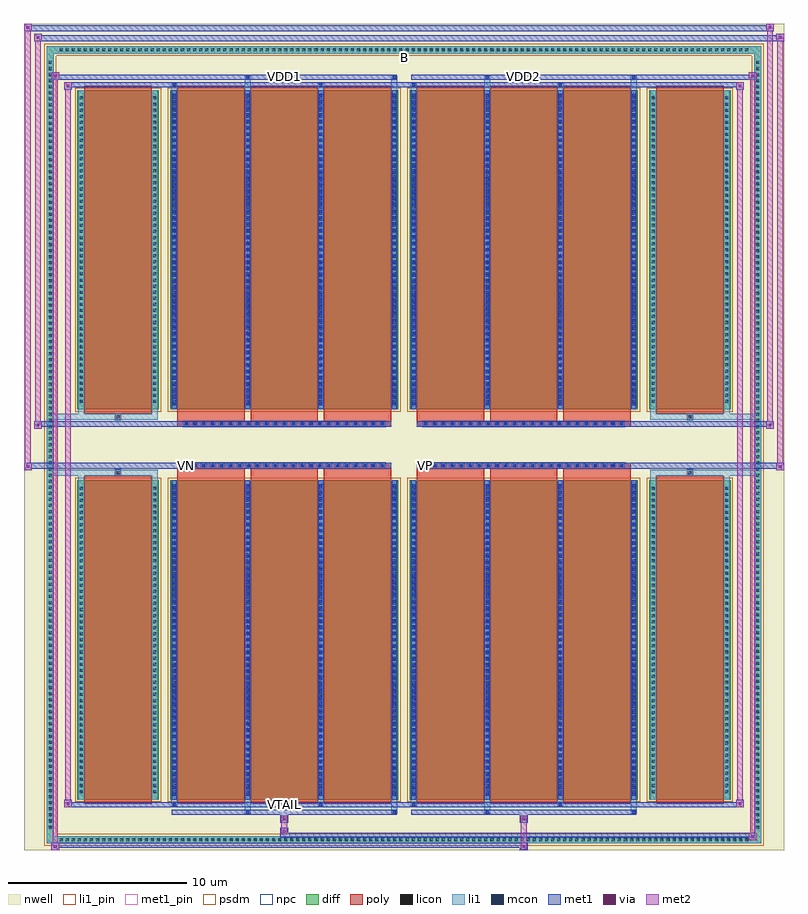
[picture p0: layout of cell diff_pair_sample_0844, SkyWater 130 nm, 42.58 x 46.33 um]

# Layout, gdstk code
import gdstk
lib = gdstk.Library(unit=1e-6, precision=5e-09)
def R(c, l, rs):  # rectangles x0, y0, x1, y1
    for r in rs: c.add(gdstk.rectangle(r[:2], r[2:], *l))
def A(c, l, x, y, w, h, nx, ny, dx, dy):  # array of equal rectangles
    R(c, l, [(x+i*dx, y+j*dy, x+i*dx+w, y+j*dy+h) for i in range(nx) for j in range(ny)])
def P(c, l, *ps):  # polygons
    for p in ps: c.add(gdstk.Polygon(p, *l))
nwell = (64, 20)
diff = (65, 20)
poly = (66, 20)
licon = (66, 44)
li1_pin = (67, 16)
li1 = (67, 20)
mcon = (67, 44)
met1_pin = (68, 16)
met1 = (68, 20)
via = (68, 44)
met2 = (69, 20)
psdm = (94, 20)
npc = (95, 20)

diff_pair_sample_0844 = lib.new_cell('diff_pair_sample_0844')
R(diff_pair_sample_0844, nwell, [(-21.29,-22.73,21.29,23.6), (-18.61,-20.92,-0.01,-0.8), (0.01,-20.92,18.61,-0.8), (-18.61,0.8,-0.01,20.92), (0.01,0.8,18.61,20.92)])
A(diff_pair_sample_0844, diff, -19.415, -22.33, 0.41, 0.41, 114, 2, 0.34, 44.25)
A(diff_pair_sample_0844, diff, -20.02, -21.625, 0.41, 0.41, 1, 127, 0, 0.34)
A(diff_pair_sample_0844, diff, 19.61, -21.625, 0.41, 0.41, 1, 127, 0, 0.34)
R(diff_pair_sample_0844, diff, [(-19.415,-22.33,19.415,-21.92), (-20.02,-21.625,-19.61,21.625), (19.61,-21.625,20.02,21.625), (-18.3,-19.875,-13.74,-1.985), (-13.1,-19.875,-0.32,-1.985), (0.32,-19.875,13.1,-1.985), (13.74,-19.875,18.3,-1.985), (-18.3,1.985,-13.74,19.875), (-13.1,1.985,-0.32,19.875), (0.32,1.985,13.1,19.875), (13.74,1.985,18.3,19.875), (-19.415,21.92,19.415,22.33)])
P(diff_pair_sample_0844, diff, [(20.02,22.33),(-20.02,22.33),(-20.02,-21.92),(-19.61,-21.92),(-19.61,21.92),(19.61,21.92),(19.61,-21.92),(-19.61,-21.92),(-20.02,-21.92),(-20.02,-22.33),(20.02,-22.33)])
A(diff_pair_sample_0844, poly, -12.71, -20.125, 3.78, 18.39, 3, 2, 4.11, 21.86)
A(diff_pair_sample_0844, poly, 0.71, -20.125, 3.78, 18.39, 3, 2, 4.11, 21.86)
A(diff_pair_sample_0844, poly, -12.71, -1.735, 3.78, 0.405, 3, 2, 4.11, 3.065)
A(diff_pair_sample_0844, poly, 0.71, -1.735, 3.78, 0.405, 3, 2, 4.11, 3.065)
A(diff_pair_sample_0844, poly, -12.375, -1.33, 0.33, 0.33, 23, 2, 0.5, 2.33)
A(diff_pair_sample_0844, poly, 1.045, -1.33, 0.33, 0.33, 23, 2, 0.5, 2.33)
R(diff_pair_sample_0844, poly, [(-17.91,-20.125,-14.13,-1.735), (14.13,-20.125,17.91,-1.735), (-16.185,-1.735,-15.855,-1.405), (-16.185,-1.735,-15.855,-1.405), (15.855,-1.735,16.185,-1.405), (15.855,-1.735,16.185,-1.405), (-12.71,-1.33,-0.71,-1), (0.71,-1.33,12.71,-1), (-12.71,1,-0.71,1.33), (0.71,1,12.71,1.33), (-16.185,1.405,-15.855,1.735), (-16.185,1.405,-15.855,1.735), (15.855,1.405,16.185,1.735), (15.855,1.405,16.185,1.735), (-17.91,1.735,-14.13,20.125), (14.13,1.735,17.91,20.125)])
A(diff_pair_sample_0844, licon, -19.295, -22.21, 0.17, 0.17, 114, 2, 0.34, 44.25)
A(diff_pair_sample_0844, licon, -19.9, -21.505, 0.17, 0.17, 1, 127, 0, 0.34)
A(diff_pair_sample_0844, licon, 19.73, -21.505, 0.17, 0.17, 1, 127, 0, 0.34)
A(diff_pair_sample_0844, licon, -18.16, -19.515, 0.17, 0.17, 1, 51, 0, 0.34)
A(diff_pair_sample_0844, licon, -14.05, -19.515, 0.17, 0.17, 1, 51, 0, 0.34)
A(diff_pair_sample_0844, licon, -12.96, -19.515, 0.17, 0.17, 4, 51, 4.11, 0.34)
A(diff_pair_sample_0844, licon, 0.46, -19.515, 0.17, 0.17, 4, 51, 4.11, 0.34)
A(diff_pair_sample_0844, licon, 13.88, -19.515, 0.17, 0.17, 1, 51, 0, 0.34)
A(diff_pair_sample_0844, licon, 17.99, -19.515, 0.17, 0.17, 1, 51, 0, 0.34)
A(diff_pair_sample_0844, licon, -12.295, -1.25, 0.17, 0.17, 23, 2, 0.5, 2.33)
A(diff_pair_sample_0844, licon, 1.125, -1.25, 0.17, 0.17, 23, 2, 0.5, 2.33)
A(diff_pair_sample_0844, licon, -18.16, 2.345, 0.17, 0.17, 1, 51, 0, 0.34)
A(diff_pair_sample_0844, licon, -14.05, 2.345, 0.17, 0.17, 1, 51, 0, 0.34)
A(diff_pair_sample_0844, licon, -12.96, 2.345, 0.17, 0.17, 4, 51, 4.11, 0.34)
A(diff_pair_sample_0844, licon, 0.46, 2.345, 0.17, 0.17, 4, 51, 4.11, 0.34)
A(diff_pair_sample_0844, licon, 13.88, 2.345, 0.17, 0.17, 1, 51, 0, 0.34)
A(diff_pair_sample_0844, licon, 17.99, 2.345, 0.17, 0.17, 1, 51, 0, 0.34)
R(diff_pair_sample_0844, licon, [(-16.105,-1.655,-15.935,-1.485), (15.935,-1.655,16.105,-1.485), (-16.105,1.485,-15.935,1.655), (15.935,1.485,16.105,1.655)])
R(diff_pair_sample_0844, li1_pin, [(-0.25,21.42,0.25,21.92)])
A(diff_pair_sample_0844, li1, -19.375, -22.29, 0.33, 0.33, 114, 2, 0.34, 44.25)
A(diff_pair_sample_0844, li1, -19.98, -21.585, 0.33, 0.33, 1, 127, 0, 0.34)
A(diff_pair_sample_0844, li1, 19.65, -21.585, 0.33, 0.33, 1, 127, 0, 0.34)
A(diff_pair_sample_0844, li1, -13.04, -19.875, 0.33, 17.89, 4, 2, 4.11, 21.86)
A(diff_pair_sample_0844, li1, 0.38, -19.875, 0.33, 17.89, 4, 2, 4.11, 21.86)
A(diff_pair_sample_0844, li1, -12.96, -19.655, 0.17, 0.17, 4, 49, 4.11, 0.36)
A(diff_pair_sample_0844, li1, -12.96, -19.655, 0.17, 17.45, 4, 2, 4.11, 21.86)
A(diff_pair_sample_0844, li1, 0.46, -19.655, 0.17, 0.17, 4, 49, 4.11, 0.36)
A(diff_pair_sample_0844, li1, 0.46, -19.655, 0.17, 17.45, 4, 2, 4.11, 21.86)
A(diff_pair_sample_0844, li1, -18.24, -19.595, 0.33, 0.33, 1, 51, 0, 0.34)
A(diff_pair_sample_0844, li1, -14.13, -19.595, 0.33, 0.33, 1, 51, 0, 0.34)
A(diff_pair_sample_0844, li1, -13.04, -19.595, 0.33, 0.33, 4, 51, 4.11, 0.34)
A(diff_pair_sample_0844, li1, 0.38, -19.595, 0.33, 0.33, 4, 51, 4.11, 0.34)
A(diff_pair_sample_0844, li1, 13.8, -19.595, 0.33, 0.33, 1, 51, 0, 0.34)
A(diff_pair_sample_0844, li1, 17.91, -19.595, 0.33, 0.33, 1, 51, 0, 0.34)
A(diff_pair_sample_0844, li1, -12.375, -1.33, 0.33, 0.33, 23, 2, 0.5, 2.33)
A(diff_pair_sample_0844, li1, 1.045, -1.33, 0.33, 0.33, 23, 2, 0.5, 2.33)
A(diff_pair_sample_0844, li1, -12.96, 2.205, 0.17, 0.17, 4, 49, 4.11, 0.36)
A(diff_pair_sample_0844, li1, 0.46, 2.205, 0.17, 0.17, 4, 49, 4.11, 0.36)
A(diff_pair_sample_0844, li1, -18.24, 2.265, 0.33, 0.33, 1, 51, 0, 0.34)
A(diff_pair_sample_0844, li1, -14.13, 2.265, 0.33, 0.33, 1, 51, 0, 0.34)
A(diff_pair_sample_0844, li1, -13.04, 2.265, 0.33, 0.33, 4, 51, 4.11, 0.34)
A(diff_pair_sample_0844, li1, 0.38, 2.265, 0.33, 0.33, 4, 51, 4.11, 0.34)
A(diff_pair_sample_0844, li1, 13.8, 2.265, 0.33, 0.33, 1, 51, 0, 0.34)
A(diff_pair_sample_0844, li1, 17.91, 2.265, 0.33, 0.33, 1, 51, 0, 0.34)
R(diff_pair_sample_0844, li1, [(-20.02,-22.33,-19.61,-21.92), (-20.02,-22.33,-19.61,-21.92), (-19.61,-22.33,19.61,-21.92), (19.61,-22.33,20.02,-21.92), (19.61,-22.33,20.02,-21.92), (-20.02,-21.92,-19.61,21.92), (19.61,-21.92,20.02,21.92), (-8.93,-20.68,-8.6,-19.875), (-8.85,-20.68,-8.68,-20.51), (-0.71,-20.68,-0.38,-19.875), (-0.63,-20.68,-0.46,-20.51), (4.49,-20.68,4.82,-19.875), (4.57,-20.68,4.74,-20.51), (12.71,-20.68,13.04,-19.875), (12.79,-20.68,12.96,-20.51), (-13.04,-20.25,-12.71,-19.875), (-12.96,-20.25,-12.79,-20.08), (-4.82,-20.25,-4.49,-19.875), (-4.74,-20.25,-4.57,-20.08), (0.38,-20.25,0.71,-19.875), (0.46,-20.25,0.63,-20.08), (8.6,-20.25,8.93,-19.875), (8.68,-20.25,8.85,-20.08), (-18.24,-19.875,-17.91,-1.985), (-14.13,-19.875,-13.8,-1.985), (13.8,-19.875,14.13,-1.985), (17.91,-19.875,18.24,-1.985), (-18.24,-1.985,-17.91,-1.405), (-14.13,-1.985,-13.8,-1.405), (13.8,-1.985,14.13,-1.405), (17.91,-1.985,18.24,-1.405), (-20.02,-1.735,-16.185,-1.405), (-18.24,-1.735,-16.185,-1.405), (-16.185,-1.735,-15.855,-1.405), (-15.855,-1.735,-13.8,-1.405), (13.8,-1.735,15.855,-1.405), (15.855,-1.735,16.185,-1.405), (15.855,-1.735,20.02,-1.405), (16.185,-1.735,18.24,-1.405), (-20.02,1.405,-16.185,1.735), (-18.24,1.405,-16.185,1.735), (-18.24,1.405,-17.91,1.985), (-16.185,1.405,-15.855,1.735), (-15.855,1.405,-13.8,1.735), (-14.13,1.405,-13.8,1.985), (13.8,1.405,15.855,1.735), (13.8,1.405,14.13,1.985), (15.855,1.405,16.185,1.735), (15.855,1.405,20.02,1.735), (16.185,1.405,18.24,1.735), (17.91,1.405,18.24,1.985), (-18.24,1.985,-17.91,19.875), (-14.13,1.985,-13.8,19.875), (13.8,1.985,14.13,19.875), (17.91,1.985,18.24,19.875), (-13.04,19.875,-12.71,20.25), (-8.93,19.875,-8.6,20.68), (-4.82,19.875,-4.49,20.25), (-0.71,19.875,-0.38,20.68), (0.38,19.875,0.71,20.25), (4.49,19.875,4.82,20.68), (8.6,19.875,8.93,20.25), (12.71,19.875,13.04,20.68), (-12.96,20.08,-12.79,20.25), (-4.74,20.08,-4.57,20.25), (0.46,20.08,0.63,20.25), (8.68,20.08,8.85,20.25), (-8.85,20.51,-8.68,20.68), (-0.63,20.51,-0.46,20.68), (4.57,20.51,4.74,20.68), (12.79,20.51,12.96,20.68), (-20.02,21.92,-19.61,22.33), (-20.02,21.92,-19.61,22.33), (-19.61,21.92,19.61,22.33), (19.61,21.92,20.02,22.33), (19.61,21.92,20.02,22.33)])
A(diff_pair_sample_0844, mcon, -12.96, -19.655, 0.17, 0.17, 4, 49, 4.11, 0.36)
A(diff_pair_sample_0844, mcon, 0.46, -19.655, 0.17, 0.17, 4, 49, 4.11, 0.36)
A(diff_pair_sample_0844, mcon, -12.295, -1.25, 0.17, 0.17, 23, 2, 0.5, 2.33)
A(diff_pair_sample_0844, mcon, 1.125, -1.25, 0.17, 0.17, 23, 2, 0.5, 2.33)
A(diff_pair_sample_0844, mcon, -12.96, 2.205, 0.17, 0.17, 4, 49, 4.11, 0.36)
A(diff_pair_sample_0844, mcon, 0.46, 2.205, 0.17, 0.17, 4, 49, 4.11, 0.36)
R(diff_pair_sample_0844, mcon, [(-8.85,-20.68,-8.68,-20.51), (-0.63,-20.68,-0.46,-20.51), (4.57,-20.68,4.74,-20.51), (12.79,-20.68,12.96,-20.51), (-12.96,-20.25,-12.79,-20.08), (-4.74,-20.25,-4.57,-20.08), (0.46,-20.25,0.63,-20.08), (8.68,-20.25,8.85,-20.08), (-12.96,20.08,-12.79,20.25), (-4.74,20.08,-4.57,20.25), (0.46,20.08,0.63,20.25), (8.68,20.08,8.85,20.25), (-8.85,20.51,-8.68,20.68), (-0.63,20.51,-0.46,20.68), (4.57,20.51,4.74,20.68), (12.79,20.51,12.96,20.68)])
R(diff_pair_sample_0844, met1_pin, [(-6.845,-20.29,-6.575,-20.02), (-12.345,-1.29,-12.075,-1.02), (1.075,-1.29,1.345,-1.02), (-6.845,20.47,-6.575,20.74), (6.575,20.47,6.845,20.74)])
A(diff_pair_sample_0844, met1, -13.02, -19.875, 0.29, 17.89, 4, 2, 4.11, 21.86)
A(diff_pair_sample_0844, met1, 0.4, -19.875, 0.29, 17.89, 4, 2, 4.11, 21.86)
A(diff_pair_sample_0844, met1, -13.02, -19.715, 0.29, 0.29, 4, 49, 4.11, 0.36)
A(diff_pair_sample_0844, met1, 0.4, -19.715, 0.29, 0.29, 4, 49, 4.11, 0.36)
A(diff_pair_sample_0844, met1, -12.355, -1.31, 0.29, 0.29, 23, 2, 0.5, 2.33)
A(diff_pair_sample_0844, met1, 1.065, -1.31, 0.29, 0.29, 23, 2, 0.5, 2.33)
A(diff_pair_sample_0844, met1, -13.02, 2.145, 0.29, 0.29, 4, 49, 4.11, 0.36)
A(diff_pair_sample_0844, met1, 0.4, 2.145, 0.29, 0.29, 4, 49, 4.11, 0.36)
R(diff_pair_sample_0844, met1, [(-19.75,-22.73,-19.32,-22.3), (6.495,-22.73,6.925,-22.3), (-19.75,-22.59,6.925,-22.3), (19.32,-22.16,19.75,-21.73), (-6.925,-22.02,19.75,-21.73), (-6.925,-21.88,-6.495,-21.45), (-6.925,-21.17,-6.495,-20.74), (6.495,-21.17,6.925,-20.74), (-13.02,-20.74,-0.4,-20.45), (-8.91,-20.74,-8.62,-20.45), (-0.69,-20.74,-0.4,-20.45), (0.4,-20.74,13.02,-20.45), (4.51,-20.74,4.8,-20.45), (12.73,-20.74,13.02,-20.45), (-19.04,-20.31,-18.61,-19.88), (-19.04,-20.31,-13.02,-20.02), (-13.02,-20.31,-12.73,-20.02), (-13.02,-20.31,-0.4,-20.02), (-4.8,-20.31,-4.51,-20.02), (-0.4,-20.31,0.4,-20.02), (0.4,-20.31,0.69,-20.02), (0.4,-20.31,13.02,-20.02), (8.62,-20.31,8.91,-20.02), (13.02,-20.31,19.04,-20.02), (18.61,-20.31,19.04,-19.88), (-21.29,-1.43,-20.86,-1), (20.86,-1.43,21.29,-1), (-21.29,-1.33,-0.71,-1), (-12.71,-1.33,-0.71,-1), (0.71,-1.33,12.71,-1), (0.71,-1.33,21.29,-1), (-20.72,0.9,-20.29,1.33), (20.29,0.9,20.72,1.33), (-20.72,1,-12.71,1.33), (-12.71,1,-0.71,1.33), (0.71,1,12.71,1.33), (12.71,1,20.72,1.33), (-19.04,19.88,-18.61,20.31), (18.61,19.88,19.04,20.31), (-19.04,20.02,-13.02,20.31), (-13.02,20.02,-12.73,20.31), (-13.02,20.02,-0.4,20.31), (-4.8,20.02,-4.51,20.31), (-0.4,20.02,0.4,20.31), (0.4,20.02,0.69,20.31), (0.4,20.02,13.02,20.31), (8.62,20.02,8.91,20.31), (13.02,20.02,19.04,20.31), (-19.75,20.45,-19.32,20.88), (-19.75,20.45,-13.02,20.74), (-13.02,20.45,-0.4,20.74), (-8.91,20.45,-8.62,20.74), (-0.69,20.45,-0.4,20.74), (0.4,20.45,13.02,20.74), (4.51,20.45,4.8,20.74), (12.73,20.45,13.02,20.74), (13.02,20.45,19.75,20.74), (19.32,20.45,19.75,20.88), (-20.72,22.6,-20.29,23.03), (-20.72,22.6,-18.61,22.93), (-18.61,22.6,18.61,22.93), (18.61,22.6,21.29,22.93), (20.86,22.6,21.29,23.03), (-21.29,23.17,-20.86,23.6), (-21.29,23.17,-18.61,23.5), (-18.61,23.17,18.61,23.5), (18.61,23.17,20.72,23.5), (20.29,23.17,20.72,23.6)])
R(diff_pair_sample_0844, via, [(-19.61,-22.59,-19.46,-22.44), (6.635,-22.59,6.785,-22.44), (19.46,-22.02,19.61,-21.87), (-6.785,-21.74,-6.635,-21.59), (-6.785,-21.03,-6.635,-20.88), (6.635,-21.03,6.785,-20.88), (-18.9,-20.17,-18.75,-20.02), (18.75,-20.17,18.9,-20.02), (-21.15,-1.29,-21,-1.14), (21,-1.29,21.15,-1.14), (-20.58,1.04,-20.43,1.19), (20.43,1.04,20.58,1.19), (-18.9,20.02,-18.75,20.17), (18.75,20.02,18.9,20.17), (-19.61,20.59,-19.46,20.74), (19.46,20.59,19.61,20.74), (-20.58,22.74,-20.43,22.89), (21,22.74,21.15,22.89), (-21.15,23.31,-21,23.46), (20.43,23.31,20.58,23.46)])
R(diff_pair_sample_0844, met2, [(-19.75,-22.73,-19.32,-22.3), (-19.68,-22.73,-19.39,20.88), (-19.39,-22.73,-19.32,-22.3), (-19.7,-22.68,-19.37,-22.35), (6.545,-22.68,6.875,-22.35), (6.545,-22.35,6.875,-21.12), (19.32,-22.16,19.75,-21.73), (19.39,-22.16,19.68,20.88), (19.68,-22.16,19.75,-21.73), (19.37,-22.11,19.7,-21.78), (-6.875,-21.83,-6.545,-21.5), (-6.875,-21.5,-6.545,-21.12), (-6.875,-21.12,-6.545,-20.79), (6.545,-21.12,6.875,-20.79), (-19.04,-20.31,-18.61,-19.88), (-18.97,-20.31,-18.68,20.31), (-18.68,-20.31,-18.61,-19.88), (18.61,-20.31,19.04,-19.88), (18.68,-20.31,18.97,20.31), (18.97,-20.31,19.04,-19.88), (-18.99,-20.26,-18.66,-19.93), (18.66,-20.26,18.99,-19.93), (-21.29,-1.43,-20.86,-1), (-21.24,-1.43,-20.91,23.6), (-20.91,-1.43,-20.86,-1), (20.86,-1.43,21.29,-1), (20.91,-1.43,21.24,23.03), (21.24,-1.43,21.29,-1), (-21.24,-1.38,-20.91,-1.05), (20.91,-1.38,21.24,-1.05), (-20.72,0.9,-20.29,1.33), (-20.67,0.9,-20.34,23.03), (-20.34,0.9,-20.29,1.33), (20.29,0.9,20.72,1.33), (20.34,0.9,20.67,23.6), (20.67,0.9,20.72,1.33), (-20.67,0.95,-20.34,1.28), (20.34,0.95,20.67,1.28), (-19.04,19.88,-18.61,20.31), (-18.68,19.88,-18.61,20.31), (18.61,19.88,19.04,20.31), (18.97,19.88,19.04,20.31), (-18.99,19.93,-18.66,20.26), (18.66,19.93,18.99,20.26), (-19.75,20.45,-19.32,20.88), (-19.39,20.45,-19.32,20.88), (19.32,20.45,19.75,20.88), (19.68,20.45,19.75,20.88), (-19.7,20.5,-19.37,20.83), (19.37,20.5,19.7,20.83), (-20.72,22.6,-20.29,23.03), (-20.34,22.6,-20.29,23.03), (20.86,22.6,21.29,23.03), (21.24,22.6,21.29,23.03), (-20.67,22.65,-20.34,22.98), (20.91,22.65,21.24,22.98), (-21.29,23.17,-20.86,23.6), (-20.91,23.17,-20.86,23.6), (20.29,23.17,20.72,23.6), (20.67,23.17,20.72,23.6), (-21.24,23.22,-20.91,23.55), (20.34,23.22,20.67,23.55)])
R(diff_pair_sample_0844, psdm, [(-18.43,-20.005,-13.61,-1.855), (-13.23,-20.005,-0.19,-1.855), (0.19,-20.005,13.23,-1.855), (13.61,-20.005,18.43,-1.855), (-18.43,1.855,-13.61,20.005), (-13.23,1.855,-0.19,20.005), (0.19,1.855,13.23,20.005), (13.61,1.855,18.43,20.005)])
P(diff_pair_sample_0844, psdm, [(20.15,22.46),(-20.15,22.46),(-20.15,-21.79),(-19.48,-21.79),(-19.48,21.79),(19.48,21.79),(19.48,-21.79),(-19.48,-21.79),(-20.15,-21.79),(-20.15,-22.46),(20.15,-22.46)])
A(diff_pair_sample_0844, npc, -12.395, -1.35, 0.37, 0.37, 23, 2, 0.5, 2.33)
A(diff_pair_sample_0844, npc, 1.025, -1.35, 0.37, 0.37, 23, 2, 0.5, 2.33)
R(diff_pair_sample_0844, npc, [(-16.205,-1.755,-15.835,-1.385), (15.835,-1.755,16.205,-1.385), (-12.395,-1.35,-11.525,-0.98), (-12.395,-1.35,-11.525,-0.98), (-11.895,-1.35,-11.025,-0.98), (-11.895,-1.35,-11.025,-0.98), (-11.395,-1.35,-10.525,-0.98), (-11.395,-1.35,-10.525,-0.98), (-10.895,-1.35,-10.025,-0.98), (-10.895,-1.35,-10.025,-0.98), (-10.395,-1.35,-9.525,-0.98), (-10.395,-1.35,-9.525,-0.98), (-9.895,-1.35,-9.025,-0.98), (-9.895,-1.35,-9.025,-0.98), (-9.395,-1.35,-8.525,-0.98), (-9.395,-1.35,-8.525,-0.98), (-8.895,-1.35,-8.025,-0.98), (-8.895,-1.35,-8.025,-0.98), (-8.395,-1.35,-7.525,-0.98), (-8.395,-1.35,-7.525,-0.98), (-7.895,-1.35,-7.025,-0.98), (-7.895,-1.35,-7.025,-0.98), (-7.395,-1.35,-6.525,-0.98), (-7.395,-1.35,-6.525,-0.98), (-6.895,-1.35,-6.025,-0.98), (-6.895,-1.35,-6.025,-0.98), (-6.395,-1.35,-5.525,-0.98), (-6.395,-1.35,-5.525,-0.98), (-5.895,-1.35,-5.025,-0.98), (-5.895,-1.35,-5.025,-0.98), (-5.395,-1.35,-4.525,-0.98), (-5.395,-1.35,-4.525,-0.98), (-4.895,-1.35,-4.025,-0.98), (-4.895,-1.35,-4.025,-0.98), (-4.395,-1.35,-3.525,-0.98), (-4.395,-1.35,-3.525,-0.98), (-3.895,-1.35,-3.025,-0.98), (-3.895,-1.35,-3.025,-0.98), (-3.395,-1.35,-2.525,-0.98), (-3.395,-1.35,-2.525,-0.98), (-2.895,-1.35,-2.025,-0.98), (-2.895,-1.35,-2.025,-0.98), (-2.395,-1.35,-1.525,-0.98), (-2.395,-1.35,-1.525,-0.98), (-1.895,-1.35,-1.025,-0.98), (-1.895,-1.35,-1.025,-0.98), (1.025,-1.35,1.895,-0.98), (1.025,-1.35,1.895,-0.98), (1.525,-1.35,2.395,-0.98), (1.525,-1.35,2.395,-0.98), (2.025,-1.35,2.895,-0.98), (2.025,-1.35,2.895,-0.98), (2.525,-1.35,3.395,-0.98), (2.525,-1.35,3.395,-0.98), (3.025,-1.35,3.895,-0.98), (3.025,-1.35,3.895,-0.98), (3.525,-1.35,4.395,-0.98), (3.525,-1.35,4.395,-0.98), (4.025,-1.35,4.895,-0.98), (4.025,-1.35,4.895,-0.98), (4.525,-1.35,5.395,-0.98), (4.525,-1.35,5.395,-0.98), (5.025,-1.35,5.895,-0.98), (5.025,-1.35,5.895,-0.98), (5.525,-1.35,6.395,-0.98), (5.525,-1.35,6.395,-0.98), (6.025,-1.35,6.895,-0.98), (6.025,-1.35,6.895,-0.98), (6.525,-1.35,7.395,-0.98), (6.525,-1.35,7.395,-0.98), (7.025,-1.35,7.895,-0.98), (7.025,-1.35,7.895,-0.98), (7.525,-1.35,8.395,-0.98), (7.525,-1.35,8.395,-0.98), (8.025,-1.35,8.895,-0.98), (8.025,-1.35,8.895,-0.98), (8.525,-1.35,9.395,-0.98), (8.525,-1.35,9.395,-0.98), (9.025,-1.35,9.895,-0.98), (9.025,-1.35,9.895,-0.98), (9.525,-1.35,10.395,-0.98), (9.525,-1.35,10.395,-0.98), (10.025,-1.35,10.895,-0.98), (10.025,-1.35,10.895,-0.98), (10.525,-1.35,11.395,-0.98), (10.525,-1.35,11.395,-0.98), (11.025,-1.35,11.895,-0.98), (11.025,-1.35,11.895,-0.98), (11.525,-1.35,12.395,-0.98), (11.525,-1.35,12.395,-0.98), (-12.395,0.98,-11.525,1.35), (-12.395,0.98,-11.525,1.35), (-11.895,0.98,-11.025,1.35), (-11.895,0.98,-11.025,1.35), (-11.395,0.98,-10.525,1.35), (-11.395,0.98,-10.525,1.35), (-10.895,0.98,-10.025,1.35), (-10.895,0.98,-10.025,1.35), (-10.395,0.98,-9.525,1.35), (-10.395,0.98,-9.525,1.35), (-9.895,0.98,-9.025,1.35), (-9.895,0.98,-9.025,1.35), (-9.395,0.98,-8.525,1.35), (-9.395,0.98,-8.525,1.35), (-8.895,0.98,-8.025,1.35), (-8.895,0.98,-8.025,1.35), (-8.395,0.98,-7.525,1.35), (-8.395,0.98,-7.525,1.35), (-7.895,0.98,-7.025,1.35), (-7.895,0.98,-7.025,1.35), (-7.395,0.98,-6.525,1.35), (-7.395,0.98,-6.525,1.35), (-6.895,0.98,-6.025,1.35), (-6.895,0.98,-6.025,1.35), (-6.395,0.98,-5.525,1.35), (-6.395,0.98,-5.525,1.35), (-5.895,0.98,-5.025,1.35), (-5.895,0.98,-5.025,1.35), (-5.395,0.98,-4.525,1.35), (-5.395,0.98,-4.525,1.35), (-4.895,0.98,-4.025,1.35), (-4.895,0.98,-4.025,1.35), (-4.395,0.98,-3.525,1.35), (-4.395,0.98,-3.525,1.35), (-3.895,0.98,-3.025,1.35), (-3.895,0.98,-3.025,1.35), (-3.395,0.98,-2.525,1.35), (-3.395,0.98,-2.525,1.35), (-2.895,0.98,-2.025,1.35), (-2.895,0.98,-2.025,1.35), (-2.395,0.98,-1.525,1.35), (-2.395,0.98,-1.525,1.35), (-1.895,0.98,-1.025,1.35), (-1.895,0.98,-1.025,1.35), (1.025,0.98,1.895,1.35), (1.025,0.98,1.895,1.35), (1.525,0.98,2.395,1.35), (1.525,0.98,2.395,1.35), (2.025,0.98,2.895,1.35), (2.025,0.98,2.895,1.35), (2.525,0.98,3.395,1.35), (2.525,0.98,3.395,1.35), (3.025,0.98,3.895,1.35), (3.025,0.98,3.895,1.35), (3.525,0.98,4.395,1.35), (3.525,0.98,4.395,1.35), (4.025,0.98,4.895,1.35), (4.025,0.98,4.895,1.35), (4.525,0.98,5.395,1.35), (4.525,0.98,5.395,1.35), (5.025,0.98,5.895,1.35), (5.025,0.98,5.895,1.35), (5.525,0.98,6.395,1.35), (5.525,0.98,6.395,1.35), (6.025,0.98,6.895,1.35), (6.025,0.98,6.895,1.35), (6.525,0.98,7.395,1.35), (6.525,0.98,7.395,1.35), (7.025,0.98,7.895,1.35), (7.025,0.98,7.895,1.35), (7.525,0.98,8.395,1.35), (7.525,0.98,8.395,1.35), (8.025,0.98,8.895,1.35), (8.025,0.98,8.895,1.35), (8.525,0.98,9.395,1.35), (8.525,0.98,9.395,1.35), (9.025,0.98,9.895,1.35), (9.025,0.98,9.895,1.35), (9.525,0.98,10.395,1.35), (9.525,0.98,10.395,1.35), (10.025,0.98,10.895,1.35), (10.025,0.98,10.895,1.35), (10.525,0.98,11.395,1.35), (10.525,0.98,11.395,1.35), (11.025,0.98,11.895,1.35), (11.025,0.98,11.895,1.35), (11.525,0.98,12.395,1.35), (11.525,0.98,12.395,1.35), (-16.205,1.385,-15.835,1.755), (15.835,1.385,16.205,1.755)])
diff_pair_sample_0844.add(gdstk.Label('VTAIL', (-6.71,-20.155), layer=68, texttype=5))
diff_pair_sample_0844.add(gdstk.Label('VN', (-12.21,-1.155), layer=68, texttype=5))
diff_pair_sample_0844.add(gdstk.Label('VP', (1.21,-1.155), layer=68, texttype=5))
diff_pair_sample_0844.add(gdstk.Label('B', (0,21.67), layer=67, texttype=5))
diff_pair_sample_0844.add(gdstk.Label('VDD2', (6.71,20.605), layer=68, texttype=5))
diff_pair_sample_0844.add(gdstk.Label('VDD1', (-6.71,20.605), layer=68, texttype=5))

lib.write_gds('diff_pair_sample_0844.gds')
